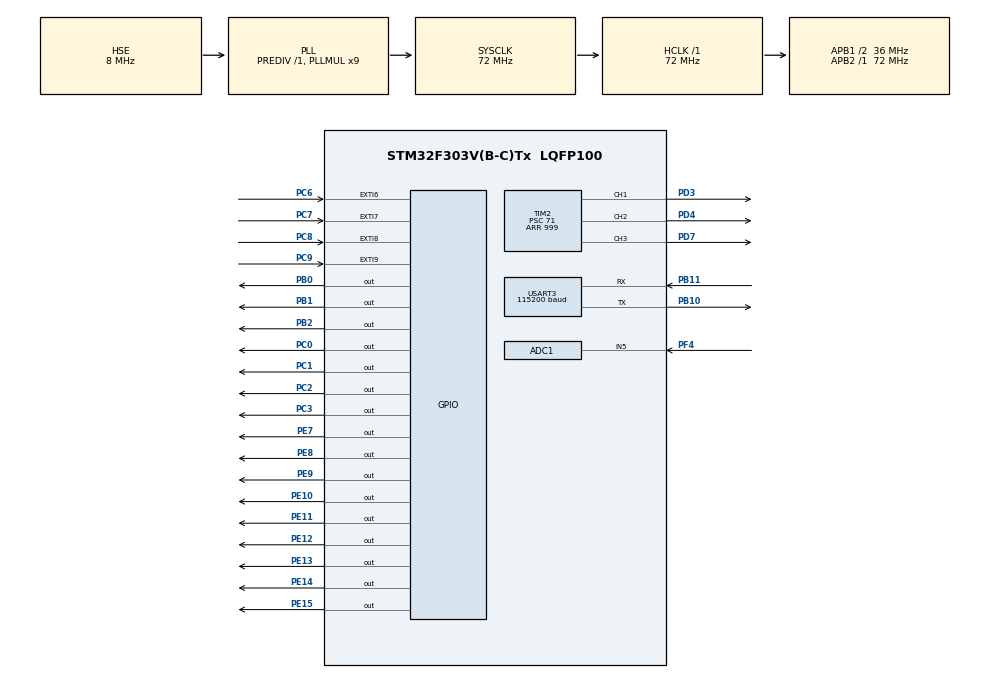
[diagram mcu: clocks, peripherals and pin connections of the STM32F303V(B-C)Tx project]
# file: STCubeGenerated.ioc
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ADC1.Channel-0\#ChannelRegularConversion=ADC_CHANNEL_5
ADC1.ContinuousConvMode=ENABLE
ADC1.ExternalTrigConv=ADC_EXTERNALTRIGCONV_T3_TRGO
ADC1.NbrOfConversionFlag=1
ADC1.Offset-0\#ChannelRegularConversion=0
ADC1.OffsetNumber-0\#ChannelRegularConversion=ADC_OFFSET_NONE
ADC1.Rank-0\#ChannelRegularConversion=1
ADC1.SamplingTime-0\#ChannelRegularConversion=ADC_SAMPLETIME_1CYCLE_5
ADC1.master=1
Mcu.Family=STM32F3
Mcu.Name=STM32F303V(B-C)Tx
Mcu.Package=LQFP100
NVIC.ADC1_2_IRQn=true\:3\:0\:true\:false\:true\:true\:true
NVIC.EXTI9_5_IRQn=true\:1\:0\:true\:false\:true\:true\:true
NVIC.PriorityGroup=NVIC_PRIORITYGROUP_4
NVIC.USART3_IRQn=true\:2\:0\:true\:false\:true\:true\:true
PB0.Signal=GPIO_Output
PB1.Signal=GPIO_Output
PB10.Mode=Asynchronous
PB10.Signal=USART3_TX
PB11.Mode=Asynchronous
PB11.Signal=USART3_RX
PB2.Signal=GPIO_Output
PC0.Signal=GPIO_Output
PC1.Signal=GPIO_Output
PC2.Signal=GPIO_Output
PC3.Signal=GPIO_Output
PC6.Signal=GPXTI6
PC7.Signal=GPXTI7
PC8.Signal=GPXTI8
PC9.Signal=GPXTI9
PD3.Signal=S_TIM2_CH1_ETR
PD4.Signal=S_TIM2_CH2
PD7.Signal=S_TIM2_CH3
PE10.Signal=GPIO_Output
PE11.Signal=GPIO_Output
PE12.Signal=GPIO_Output
PE13.Signal=GPIO_Output
PE14.Signal=GPIO_Output
PE15.Signal=GPIO_Output
PE7.Signal=GPIO_Output
PE8.Signal=GPIO_Output
PE9.Signal=GPIO_Output
PF0-OSC_IN.Mode=HSE-External-Clock-Source
PF0-OSC_IN.Signal=RCC_OSC_IN
PF4.Mode=IN5-Single-Ended
PF4.Signal=ADC1_IN5
ProjectManager.HeapSize=0x200
ProjectManager.StackSize=0x400
ProjectManager.TargetToolchain=MDK-ARM V5
RCC.AHBFreq_Value=72000000
RCC.APB1CLKDivider=RCC_HCLK_DIV2
RCC.APB1Freq_Value=36000000
RCC.APB1TimFreq_Value=72000000
RCC.APB2Freq_Value=72000000
RCC.APB2TimFreq_Value=72000000
RCC.CortexFreq_Value=72000000
RCC.HCLKFreq_Value=72000000
RCC.HSE_VALUE=8000000
RCC.HSI_VALUE=8000000
RCC.LSE_VALUE=32768
RCC.PLLMUL=RCC_PLL_MUL9
RCC.PLLSourceVirtual=RCC_PLLSOURCE_HSE
RCC.SYSCLKFreq_VALUE=72000000
RCC.SYSCLKSourceVirtual=RCC_SYSCLKSOURCE_PLLCLK
RCC.USBFreq_Value=72000000
SH.S_TIM2_CH1_ETR.0=TIM2_CH1,PWM Generation1 CH1
SH.S_TIM2_CH2.0=TIM2_CH2,PWM Generation2 CH2
SH.S_TIM2_CH3.0=TIM2_CH3,PWM Generation3 CH3
TIM2.Channel-PWM\ Generation1\ CH1=TIM_CHANNEL_1
TIM2.Channel-PWM\ Generation2\ CH2=TIM_CHANNEL_2
TIM2.Channel-PWM\ Generation3\ CH3=TIM_CHANNEL_3
TIM2.Period=999
TIM2.Prescaler=71
TIM2.Pulse-PWM\ Generation1\ CH1=499
TIM2.Pulse-PWM\ Generation2\ CH2=499
TIM2.Pulse-PWM\ Generation3\ CH3=499
TIM3.Period=9999
TIM3.Prescaler=719
TIM3.TIM_MasterOutputTrigger=TIM_TRGO_UPDATE
USART3.BaudRate=115200
USART3.VirtualMode-Asynchronous=VM_ASYNC
VP_TIM3_VS_ClockSourceINT.Mode=Internal
board=custom

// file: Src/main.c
/* USER CODE BEGIN Header */
/**
  ******************************************************************************
  * @file           : main.c
  * @brief          : Main program body
  ******************************************************************************
  * @attention
  *
  * <h2><center>&copy; Copyright (c) 2019 STMicroelectronics.
  * All rights reserved.</center></h2>
  *
  * This software component is licensed by ST under BSD 3-Clause license,
  * the "License"; You may not use this file except in compliance with the
  * License. You may obtain a copy of the License at:
  *                        opensource.org/licenses/BSD-3-Clause
  *
  ******************************************************************************
  */
/* USER CODE END Header */

#include "main.h"

/* USER CODE BEGIN Includes */
#include "stdio.h"
#include "stdlib.h"
#include "string.h"
#include "cmsis_os2.h"
#include "koibitoex_lcd2.h"
/* USER CODE END Includes */

ADC_HandleTypeDef hadc1;

TIM_HandleTypeDef htim2;
TIM_HandleTypeDef htim3;

UART_HandleTypeDef huart3;

/* USER CODE BEGIN PV */

osThreadId_t tid_LedThread1;

const osThreadAttr_t LedThread1_attr =
{
  .priority = osPriorityAboveNormal,
  .stack_size = 256
};

osThreadId_t tid_LedThread2;

const osThreadAttr_t LedThread2_attr =
{
  .priority = osPriorityNormal,
  .stack_size = 256
};

osThreadId_t tid_LcdThread1;
const osThreadAttr_t LcdThread1_attr =
{
  .priority = osPriorityAboveNormal2,
  .stack_size = 512
};

osThreadId_t tid_LcdThread2;
const osThreadAttr_t LcdThread2_attr =
{
  .priority = osPriorityAboveNormal1,
  .stack_size = 512
};

osThreadId_t tid_uartThread1;
const osThreadAttr_t uartThread1_attr =
{
  .priority = osPriorityAboveNormal4,
  .stack_size = 512
};

osThreadId_t tid_uartThread2;
const osThreadAttr_t uartThread2_attr =
{
  .priority = osPriorityAboveNormal3,
  .stack_size = 512
};

osMutexId_t mid_lcdMutex;

const osSemaphoreAttr_t BinSem1_attr =
{
	.name = "BinSem1"
};

const osSemaphoreAttr_t BinSem2_attr =
{
	.name = "BinSem2"
};

osSemaphoreId_t sid_BinSem1;
osSemaphoreId_t sid_BinSem2;
/* USER CODE END PV */

void SystemClock_Config(void);
static void MX_GPIO_Init(void);
static void MX_ADC1_Init(void);
static void MX_TIM2_Init(void);
static void MX_TIM3_Init(void);
static void MX_USART3_UART_Init(void);
/* USER CODE BEGIN PFP */
static void LedThread1(void * argument);
static void LedThread2(void * argument);
static void	LcdThread1(void * argument);
static void	LcdThread2(void * argument);
static void	uartThread1(void * argument);
static void	uartThread2(void * argument);
/* USER CODE END PFP */

int main(void)
{

  /* MCU Configuration--------------------------------------------------------*/

  /* Reset of all peripherals, Initializes the Flash interface and the Systick. */
  HAL_Init();

  /* Configure the system clock */
  SystemClock_Config();

  /* USER CODE BEGIN SysInit */
  osKernelInitialize();
  /* USER CODE END SysInit */

  /* Initialize all configured peripherals */
  MX_GPIO_Init();
  MX_ADC1_Init();
  MX_TIM2_Init();
  MX_TIM3_Init();
  MX_USART3_UART_Init();
  /* USER CODE BEGIN 2 */

  /* Start Timer and ADC */
  //HAL_TIM_Base_Start_IT(&htim3);
  //HAL_ADC_Start_IT(&hadc1);

  tid_LedThread1 = osThreadNew(LedThread1, NULL, &LedThread1_attr);
  if (tid_LedThread1 == NULL) return (-1);

  tid_LedThread2 = osThreadNew(LedThread2, NULL, &LedThread2_attr);
  if (tid_LedThread2 == NULL) return (-1);

	LcdInit();
	LcdCls(LCD_CLS_ALL);
	LcdSetBackLight(LCD_BACKLIGHT_ON);
	LcdSetCursor(LCD_CURSOR_OFF);

	tid_LcdThread1 = osThreadNew(LcdThread1, NULL, &LcdThread1_attr);
  if (tid_LcdThread1 == NULL) return (-1);

  tid_LcdThread2 = osThreadNew(LcdThread2, NULL, &LcdThread2_attr);
  if (tid_LcdThread2 == NULL) return (-1);

	sid_BinSem1 = osSemaphoreNew(1, 0, &BinSem1_attr);
	if(sid_BinSem1 == NULL) return (-1);

	sid_BinSem2 = osSemaphoreNew(1, 0, &BinSem2_attr);
	if(sid_BinSem1 == NULL) return (-1);

	tid_uartThread1 = osThreadNew(uartThread1, NULL, &uartThread1_attr);
  if (tid_uartThread1 == NULL) return (-1);

  tid_uartThread2 = osThreadNew(uartThread2, NULL, &uartThread2_attr);
  if (tid_uartThread2 == NULL) return (-1);

	mid_lcdMutex = osMutexNew(NULL);
	if (mid_lcdMutex == NULL) return (-1);

  osKernelStart();
  /* USER CODE END 2 */

  /* Infinite loop */
  while (1)
  {

  }
}

void SystemClock_Config(void)
{
  RCC_OscInitTypeDef RCC_OscInitStruct = {0};
  RCC_ClkInitTypeDef RCC_ClkInitStruct = {0};
  RCC_PeriphCLKInitTypeDef PeriphClkInit = {0};

  /** Initializes the CPU, AHB and APB busses clocks
  */
  RCC_OscInitStruct.OscillatorType = RCC_OSCILLATORTYPE_HSE;
  RCC_OscInitStruct.HSEState = RCC_HSE_BYPASS;
  RCC_OscInitStruct.HSEPredivValue = RCC_HSE_PREDIV_DIV1;
  RCC_OscInitStruct.HSIState = RCC_HSI_ON;
  RCC_OscInitStruct.PLL.PLLState = RCC_PLL_ON;
  RCC_OscInitStruct.PLL.PLLSource = RCC_PLLSOURCE_HSE;
  RCC_OscInitStruct.PLL.PLLMUL = RCC_PLL_MUL9;
  if (HAL_RCC_OscConfig(&RCC_OscInitStruct) != HAL_OK)
  {
    Error_Handler();
  }
  /** Initializes the CPU, AHB and APB busses clocks
  */
  RCC_ClkInitStruct.ClockType = RCC_CLOCKTYPE_HCLK|RCC_CLOCKTYPE_SYSCLK
                              |RCC_CLOCKTYPE_PCLK1|RCC_CLOCKTYPE_PCLK2;
  RCC_ClkInitStruct.SYSCLKSource = RCC_SYSCLKSOURCE_PLLCLK;
  RCC_ClkInitStruct.AHBCLKDivider = RCC_SYSCLK_DIV1;
  RCC_ClkInitStruct.APB1CLKDivider = RCC_HCLK_DIV2;
  RCC_ClkInitStruct.APB2CLKDivider = RCC_HCLK_DIV1;

  if (HAL_RCC_ClockConfig(&RCC_ClkInitStruct, FLASH_LATENCY_2) != HAL_OK)
  {
    Error_Handler();
  }
  PeriphClkInit.PeriphClockSelection = RCC_PERIPHCLK_USART3|RCC_PERIPHCLK_ADC12;
  PeriphClkInit.Usart3ClockSelection = RCC_USART3CLKSOURCE_PCLK1;
  PeriphClkInit.Adc12ClockSelection = RCC_ADC12PLLCLK_DIV1;
  if (HAL_RCCEx_PeriphCLKConfig(&PeriphClkInit) != HAL_OK)
  {
    Error_Handler();
  }
}

static void MX_ADC1_Init(void)
{

  ADC_MultiModeTypeDef multimode = {0};
  ADC_ChannelConfTypeDef sConfig = {0};

  /** Common config
  */
  hadc1.Instance = ADC1;
  hadc1.Init.ClockPrescaler = ADC_CLOCK_ASYNC_DIV1;
  hadc1.Init.Resolution = ADC_RESOLUTION_12B;
  hadc1.Init.ScanConvMode = ADC_SCAN_DISABLE;
  hadc1.Init.ContinuousConvMode = ENABLE;
  hadc1.Init.DiscontinuousConvMode = DISABLE;
  hadc1.Init.ExternalTrigConvEdge = ADC_EXTERNALTRIGCONVEDGE_RISING;
  hadc1.Init.ExternalTrigConv = ADC_EXTERNALTRIGCONV_T3_TRGO;
  hadc1.Init.DataAlign = ADC_DATAALIGN_RIGHT;
  hadc1.Init.NbrOfConversion = 1;
  hadc1.Init.DMAContinuousRequests = DISABLE;
  hadc1.Init.EOCSelection = ADC_EOC_SINGLE_CONV;
  hadc1.Init.LowPowerAutoWait = DISABLE;
  hadc1.Init.Overrun = ADC_OVR_DATA_OVERWRITTEN;
  if (HAL_ADC_Init(&hadc1) != HAL_OK)
  {
    Error_Handler();
  }
  /** Configure the ADC multi-mode
  */
  multimode.Mode = ADC_MODE_INDEPENDENT;
  if (HAL_ADCEx_MultiModeConfigChannel(&hadc1, &multimode) != HAL_OK)
  {
    Error_Handler();
  }
  /** Configure Regular Channel
  */
  sConfig.Channel = ADC_CHANNEL_5;
  sConfig.Rank = ADC_REGULAR_RANK_1;
  sConfig.SingleDiff = ADC_SINGLE_ENDED;
  sConfig.SamplingTime = ADC_SAMPLETIME_1CYCLE_5;
  sConfig.OffsetNumber = ADC_OFFSET_NONE;
  sConfig.Offset = 0;
  if (HAL_ADC_ConfigChannel(&hadc1, &sConfig) != HAL_OK)
  {
    Error_Handler();
  }

}

static void MX_TIM2_Init(void)
{

  TIM_MasterConfigTypeDef sMasterConfig = {0};
  TIM_OC_InitTypeDef sConfigOC = {0};

  htim2.Instance = TIM2;
  htim2.Init.Prescaler = 71;
  htim2.Init.CounterMode = TIM_COUNTERMODE_UP;
  htim2.Init.Period = 999;
  htim2.Init.ClockDivision = TIM_CLOCKDIVISION_DIV1;
  htim2.Init.AutoReloadPreload = TIM_AUTORELOAD_PRELOAD_DISABLE;
  if (HAL_TIM_PWM_Init(&htim2) != HAL_OK)
  {
    Error_Handler();
  }
  sMasterConfig.MasterOutputTrigger = TIM_TRGO_RESET;
  sMasterConfig.MasterSlaveMode = TIM_MASTERSLAVEMODE_DISABLE;
  if (HAL_TIMEx_MasterConfigSynchronization(&htim2, &sMasterConfig) != HAL_OK)
  {
    Error_Handler();
  }
  sConfigOC.OCMode = TIM_OCMODE_PWM1;
  sConfigOC.Pulse = 499;
  sConfigOC.OCPolarity = TIM_OCPOLARITY_HIGH;
  sConfigOC.OCFastMode = TIM_OCFAST_DISABLE;
  if (HAL_TIM_PWM_ConfigChannel(&htim2, &sConfigOC, TIM_CHANNEL_1) != HAL_OK)
  {
    Error_Handler();
  }
  if (HAL_TIM_PWM_ConfigChannel(&htim2, &sConfigOC, TIM_CHANNEL_2) != HAL_OK)
  {
    Error_Handler();
  }
  if (HAL_TIM_PWM_ConfigChannel(&htim2, &sConfigOC, TIM_CHANNEL_3) != HAL_OK)
  {
    Error_Handler();
  }
  HAL_TIM_MspPostInit(&htim2);

}

static void MX_TIM3_Init(void)
{

  TIM_ClockConfigTypeDef sClockSourceConfig = {0};
  TIM_MasterConfigTypeDef sMasterConfig = {0};

  htim3.Instance = TIM3;
  htim3.Init.Prescaler = 719;
  htim3.Init.CounterMode = TIM_COUNTERMODE_UP;
  htim3.Init.Period = 9999;
  htim3.Init.ClockDivision = TIM_CLOCKDIVISION_DIV1;
  htim3.Init.AutoReloadPreload = TIM_AUTORELOAD_PRELOAD_DISABLE;
  if (HAL_TIM_Base_Init(&htim3) != HAL_OK)
  {
    Error_Handler();
  }
  sClockSourceConfig.ClockSource = TIM_CLOCKSOURCE_INTERNAL;
  if (HAL_TIM_ConfigClockSource(&htim3, &sClockSourceConfig) != HAL_OK)
  {
    Error_Handler();
  }
  sMasterConfig.MasterOutputTrigger = TIM_TRGO_UPDATE;
  sMasterConfig.MasterSlaveMode = TIM_MASTERSLAVEMODE_DISABLE;
  if (HAL_TIMEx_MasterConfigSynchronization(&htim3, &sMasterConfig) != HAL_OK)
  {
    Error_Handler();
  }

}

static void MX_USART3_UART_Init(void)
{

  huart3.Instance = USART3;
  huart3.Init.BaudRate = 115200;
  huart3.Init.WordLength = UART_WORDLENGTH_8B;
  huart3.Init.StopBits = UART_STOPBITS_1;
  huart3.Init.Parity = UART_PARITY_NONE;
  huart3.Init.Mode = UART_MODE_TX_RX;
  huart3.Init.HwFlowCtl = UART_HWCONTROL_NONE;
  huart3.Init.OverSampling = UART_OVERSAMPLING_16;
  huart3.Init.OneBitSampling = UART_ONE_BIT_SAMPLE_DISABLE;
  huart3.AdvancedInit.AdvFeatureInit = UART_ADVFEATURE_NO_INIT;
  if (HAL_UART_Init(&huart3) != HAL_OK)
  {
    Error_Handler();
  }

}

static void MX_GPIO_Init(void)
{
  GPIO_InitTypeDef GPIO_InitStruct = {0};

  /* GPIO Ports Clock Enable */
  __HAL_RCC_GPIOF_CLK_ENABLE();
  __HAL_RCC_GPIOC_CLK_ENABLE();
  __HAL_RCC_GPIOB_CLK_ENABLE();
  __HAL_RCC_GPIOE_CLK_ENABLE();
  __HAL_RCC_GPIOD_CLK_ENABLE();

  /*Configure GPIO pin Output Level */
  HAL_GPIO_WritePin(GPIOC, GPIO_PIN_0|GPIO_PIN_1|GPIO_PIN_2|GPIO_PIN_3, GPIO_PIN_RESET);

  /*Configure GPIO pin Output Level */
  HAL_GPIO_WritePin(GPIOB, GPIO_PIN_0|GPIO_PIN_1|GPIO_PIN_2, GPIO_PIN_RESET);

  /*Configure GPIO pin Output Level */
  HAL_GPIO_WritePin(GPIOE, GPIO_PIN_7|GPIO_PIN_8|GPIO_PIN_9|GPIO_PIN_10
                          |GPIO_PIN_11|GPIO_PIN_12|GPIO_PIN_13|GPIO_PIN_14
                          |GPIO_PIN_15, GPIO_PIN_RESET);

  /*Configure GPIO pins : PC0 PC1 PC2 PC3 */
  GPIO_InitStruct.Pin = GPIO_PIN_0|GPIO_PIN_1|GPIO_PIN_2|GPIO_PIN_3;
  GPIO_InitStruct.Mode = GPIO_MODE_OUTPUT_PP;
  GPIO_InitStruct.Pull = GPIO_NOPULL;
  GPIO_InitStruct.Speed = GPIO_SPEED_FREQ_LOW;
  HAL_GPIO_Init(GPIOC, &GPIO_InitStruct);

  /*Configure GPIO pins : PB0 PB1 PB2 */
  GPIO_InitStruct.Pin = GPIO_PIN_0|GPIO_PIN_1|GPIO_PIN_2;
  GPIO_InitStruct.Mode = GPIO_MODE_OUTPUT_PP;
  GPIO_InitStruct.Pull = GPIO_NOPULL;
  GPIO_InitStruct.Speed = GPIO_SPEED_FREQ_LOW;
  HAL_GPIO_Init(GPIOB, &GPIO_InitStruct);

  /*Configure GPIO pins : PE7 PE8 PE9 PE10
                           PE11 PE12 PE13 PE14
                           PE15 */
  GPIO_InitStruct.Pin = GPIO_PIN_7|GPIO_PIN_8|GPIO_PIN_9|GPIO_PIN_10
                          |GPIO_PIN_11|GPIO_PIN_12|GPIO_PIN_13|GPIO_PIN_14
                          |GPIO_PIN_15;
  GPIO_InitStruct.Mode = GPIO_MODE_OUTPUT_PP;
  GPIO_InitStruct.Pull = GPIO_NOPULL;
  GPIO_InitStruct.Speed = GPIO_SPEED_FREQ_LOW;
  HAL_GPIO_Init(GPIOE, &GPIO_InitStruct);

  /*Configure GPIO pins : PC6 PC7 PC8 PC9 */
  GPIO_InitStruct.Pin = GPIO_PIN_6|GPIO_PIN_7|GPIO_PIN_8|GPIO_PIN_9;
  GPIO_InitStruct.Mode = GPIO_MODE_IT_RISING;
  GPIO_InitStruct.Pull = GPIO_NOPULL;
  HAL_GPIO_Init(GPIOC, &GPIO_InitStruct);

  /* EXTI interrupt init*/
  HAL_NVIC_SetPriority(EXTI9_5_IRQn, 1, 0);
  HAL_NVIC_EnableIRQ(EXTI9_5_IRQn);

}

/* USER CODE BEGIN 4 */

/* Application Threads -------------------------------------------------------*/

static void LedThread1(void * argument)
{
  while(1)
  {
    HAL_GPIO_TogglePin(GPIOE, GPIO_PIN_8);
		osDelay(200);
  }
}

static void LedThread2(void * argument)
{
  while(1)
  {
    HAL_GPIO_TogglePin(GPIOE, GPIO_PIN_9);
    osDelay(210);
  }
}

static void	LcdThread1(void * argument)
{
	uint8_t str[20];
	uint8_t count;
	osStatus_t osStatus;

	while(1)
	{
		sprintf((char *)str,"Thread1 = %03d",count++);
		osStatus = osMutexAcquire(mid_lcdMutex, 0);
		if(osStatus == osOK)
		{
			LcdSetPosition(LCD_LINE_1, 0);
			LcdPutS(str);
			osMutexRelease(mid_lcdMutex);
		}
		osDelay(125);
	}
}

static void	LcdThread2(void * argument)
{
	uint8_t str2[20];
	uint8_t count2;
	osStatus_t osStatus;

	while(1)
	{
		sprintf((char *)str2,"Thread2 = %03d",count2++);
		osStatus = osMutexAcquire(mid_lcdMutex, 0);
		if(osStatus == osOK)
		{
			LcdSetPosition(LCD_LINE_2, 0);
			LcdPutS(str2);
			osMutexRelease(mid_lcdMutex);
		}
		osDelay(300);
	}
}

static void	uartThread1(void * argument)
{
	uint8_t str3[20];
	uint8_t count3;
	osStatus_t osStatus;
	while(1)
	{
		sprintf((char *)str3,"###Thread1 = %03d\r\n",count3++);
		HAL_UART_Transmit(&huart3, str3, strlen((char *)str3), 100);
		if(count3 == 50)
		{
			/*Release BinSem1. */
			osSemaphoreRelease(sid_BinSem1);
			/* Acquire BinSem2. */
			osSemaphoreAcquire(sid_BinSem2, osWaitForever);
		}
		osDelay(125);
	}
}

static void	uartThread2(void * argument)
{
	uint8_t str4[20];
	uint8_t count4;
	osStatus_t osStatus;
	while(1)
	{
		sprintf((char *)str4,"***Thread2 = %03d\r\n",count4++);
		HAL_UART_Transmit(&huart3, str4, strlen((char *)str4), 100);
		if(count4 == 50)
		{
			/*Release BinSem2. */
			osSemaphoreRelease(sid_BinSem2);
			/* Acquire BinSem1. */
			osSemaphoreAcquire(sid_BinSem1, osWaitForever);
		}
		osDelay(300);
	}
}

/* Interrupt Service Routine (ISR) -------------------------------------------*/

void HAL_GPIO_EXTI_Callback(uint16_t GPIO_Pin)
{

}

void HAL_ADC_ConvCpltCallback(ADC_HandleTypeDef* hadc)
{
  /* Automatic read ADC value every 100ms */
  if(hadc->Instance == hadc1.Instance)
  {
    //adc_val = HAL_ADC_GetValue(&hadc1);
  }
}

/* ---------------------------------------------------------------------------*/

/* USER CODE END 4 */

void Error_Handler(void)
{
}

/************************ (C) COPYRIGHT STMicroelectronics *****END OF FILE****/
